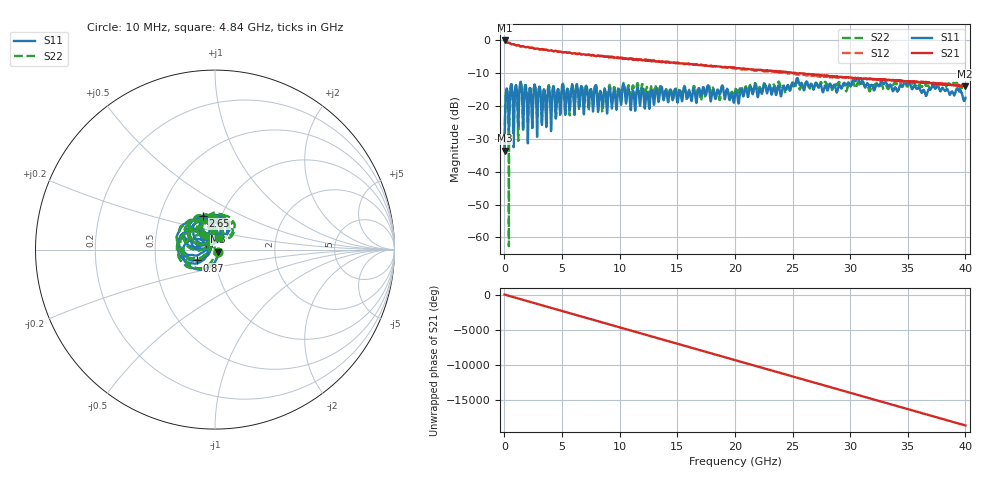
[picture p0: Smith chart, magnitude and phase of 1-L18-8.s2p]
! 2/21/2025 7:05:06 AM
! Z:\OQC\AD5\613\LOT-141-0825\SINGLE\1-L18-8.S2P
! CHANNEL.1
! TR.MEASUREMENT
! CORRECTED.DATA
! RF.CORRECTION: FULL.FOUR.PORT.CAL.PORT.1.2.3.4
! AVERAGING.OFF
! IF.BANDWIDTH: 1KHZ
! SWEEPTYPE:  FREQ.SWEEP(Linear)
! Reference Plane Port Info
! PORT:  PORT1  PORT2
! DISTANCE:  0  m  0  m
! TIME:  0  s  0  s
! PHASE.OFFSET:  0 °  0 °
! LOSS:  0  dB  0  dB
! REF.LOSS:  0  dB  0  dB
! REF.FREQ:  0  Hz  0  Hz
! Power Info
! POWER:  -10  dBm  -10  dBm
! EFF.POWER:  -10  dBm  -10  dBm
! SOURCE.ATTEN:  0  dB  0  dB
! TEST.ATTEN:  0  dB  0  dB
# GHZ S RI R 50.0
! FREQ.GHZ  S11RE  S11IM  S21RE  S21IM  S12RE  S12IM  S22RE  S22IM
!; PortSelection: Port_12
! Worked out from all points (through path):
!   4000 points, 10 MHz to 40 GHz, reference 50 ohm
!   highest |S21| = -0.17 dB at 10 MHz (marker M1); lowest = -14.0 dB at 39.94 GHz (marker M2)
!   group delay of S21, straight-line fit = 1.29 ns
!   lowest |S11| = -33.6 dB at 10 MHz (marker M3), VSWR 1.04, Z = 51.8 - j1.15 ohm
!   |S11| at or under -10 dB: start of sweep to end of sweep
!   |S22| runs from -62.6 to -12.6 dB; largest |S21 - S12| = 0.02
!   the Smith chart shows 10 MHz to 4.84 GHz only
!   S11 on the Smith chart (normalised r, x): 10 MHz: 1.04, -0.02; 870 MHz: 0.81, -0.10; 2.65 GHz: 0.82, +0.32; 4.84 GHz: 1.02, +0.15
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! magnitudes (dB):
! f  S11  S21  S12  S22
! 10 MHz  -33.6  -0.2  -0.2  -33.6
! 140 MHz  -15.6  -0.6  -0.6  -15.8
! 270 MHz  -16.3  -0.9  -0.8  -16.9
! 870 MHz  -18.6  -1.4  -1.4  -18.5
! 2.65 GHz  -14.0  -2.7  -2.7  -13.8
! 4.84 GHz  -22.6  -3.5  -3.5  -23.1
! 6.68 GHz  -14.1  -4.5  -4.4  -13.6
! 7.92 GHz  -13.8  -4.9  -4.8  -13.3
! 8.36 GHz  -15.9  -4.9  -4.9  -15.9
! 9.05 GHz  -15.3  -5.2  -5.2  -14.2
! 13.34 GHz  -18.1  -6.5  -6.5  -16.7
! 18.84 GHz  -14.1  -8.2  -8.3  -14.6
! 20.01 GHz  -16.9  -8.5  -8.6  -15.7
! 24.07 GHz  -16.0  -9.7  -9.9  -14.0
! 25.4 GHz  -11.6  -10.2  -10.6  -12.6
! 26.67 GHz  -13.7  -10.4  -10.9  -13.6
! 28.89 GHz  -15.6  -11.2  -11.4  -13.6
! 30.53 GHz  -12.2  -11.6  -11.6  -14.3
! 33.34 GHz  -14.0  -12.1  -12.2  -14.7
! 39.41 GHz  -15.4  -14.0  -13.5  -14.7
! 39.94 GHz  -18.3  -14.0  -13.6  -14.6
! 40 GHz  -17.6  -14.0  -13.7  -14.2
